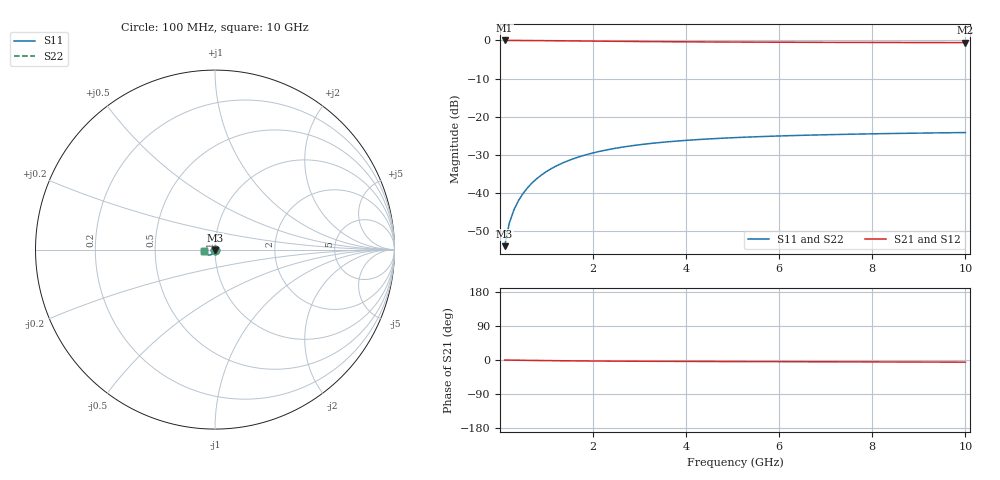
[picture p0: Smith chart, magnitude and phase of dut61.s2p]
! Touchstone file exported from HFSS 2024.1.0
!  File:  C:/UserFiles/LocalFiles/RDL_TSV_Batchsim/temp_TSV1_61_1779373037.aedt
!  Generated:  10:28:36 PM May 21, 2026
!  Design:  TSV1
!  Project:  temp_TSV1_61_1779373037
!  Setup:  Setup1
!  Solution:  Sweep
! Variables:
!  dtsv = 12.52um
!  hbump = 3um
!  htsv = 89.58um
!  lrdl = 252.1521522um
!  p = 40
!  p1 = 53.17um
!  t = 500um
!  trdl = 3um
!  wrdl = 24.89489489um
# GHz S MA R 50.000000
! Terminal data exported
! Port[1] = TSV22_T1
! Port[2] = TSV22_T2
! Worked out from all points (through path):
!   100 points, 100 MHz to 10 GHz, reference 50 ohm
!   highest |S21| = 0.00 dB at 100 MHz (marker M1); lowest = -0.6 dB at 10 GHz (marker M2)
!   lowest |S11| = -54.0 dB at 100 MHz (marker M3), VSWR 1.00, Z = 50 - j0.2 ohm
!   |S11| at or under -10 dB: start of sweep to end of sweep
!   |S22| runs from -54.0 to -24.2 dB; largest |S21 - S12| = 3.5e-15
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0.1  0.002 -89.2  0.9998 -0.2  0.9998 -0.2  0.002 -89.2
! Gamma 0 0 0 0
! Port Impedance 50 0 50 0
0.2  0.003995 -92.5  0.9996 -0.3  0.9996 -0.3  0.003995 -92.5
0.3  0.005983 -94.9  0.9992 -0.5  0.9992 -0.5  0.005983 -94.9
0.4  0.007955 -97.1  0.9987 -0.7  0.9987 -0.7  0.007955 -97.1
0.5  0.009903 -99.2  0.9981 -0.8  0.9981 -0.8  0.009903 -99.2
0.6  0.01182 -101.3  0.9974 -1.0  0.9974 -1.0  0.01182 -101.3
0.7  0.0137 -103.3  0.9966 -1.1  0.9966 -1.1  0.0137 -103.3
0.8  0.01554 -105.3  0.9956 -1.3  0.9956 -1.3  0.01554 -105.3
0.9  0.01733 -107.2  0.9946 -1.4  0.9946 -1.4  0.01733 -107.2
1.1  0.02076 -110.9  0.9924 -1.7  0.9924 -1.7  0.02076 -110.9
1.4  0.02549 -116.1  0.9887 -2.1  0.9887 -2.1  0.02549 -116.1
1.6  0.02837 -119.4  0.9861 -2.3  0.9861 -2.3  0.02837 -119.4
1.8  0.03102 -122.5  0.9834 -2.5  0.9834 -2.5  0.03102 -122.5
2.1  0.03459 -126.7  0.9794 -2.7  0.9794 -2.7  0.03459 -126.7
2.5  0.03867 -131.9  0.9744 -3.0  0.9744 -3.0  0.03867 -131.9
2.9  0.04207 -136.4  0.9698 -3.2  0.9698 -3.2  0.04207 -136.4
3.4  0.04556 -141.4  0.9647 -3.5  0.9647 -3.5  0.04556 -141.4
4.2  0.04982 -148.1  0.958 -3.8  0.958 -3.8  0.04982 -148.1
5.1  0.05328 -154.1  0.9522 -4.1  0.9522 -4.1  0.05328 -154.1
6.7  0.05736 -162.6  0.9451 -4.6  0.9451 -4.6  0.05736 -162.6
8.4  0.06011 -169.4  0.9403 -5.2  0.9403 -5.2  0.06011 -169.4
10  0.06191 -174.8  0.9373 -5.7  0.9373 -5.7  0.06191 -174.8
